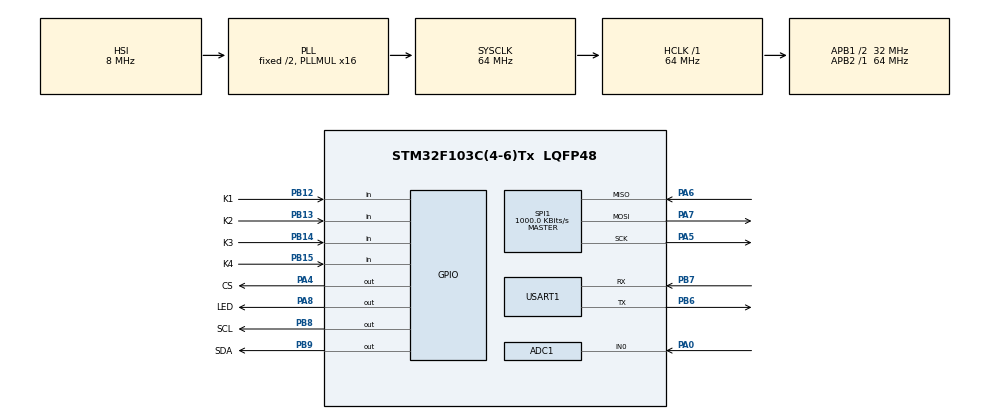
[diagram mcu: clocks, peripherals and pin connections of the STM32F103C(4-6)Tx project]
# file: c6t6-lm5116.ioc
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ADC1.Channel-0\#ChannelRegularConversion=ADC_CHANNEL_0
ADC1.ContinuousConvMode=ENABLE
ADC1.NbrOfConversion=1
ADC1.NbrOfConversionFlag=1
ADC1.Rank-0\#ChannelRegularConversion=1
ADC1.SamplingTime-0\#ChannelRegularConversion=ADC_SAMPLETIME_55CYCLES_5
ADC1.master=1
Dma.ADC1.0.Direction=DMA_PERIPH_TO_MEMORY
Dma.ADC1.0.Instance=DMA1_Channel1
Dma.ADC1.0.MemDataAlignment=DMA_MDATAALIGN_HALFWORD
Dma.ADC1.0.MemInc=DMA_MINC_ENABLE
Dma.ADC1.0.Mode=DMA_CIRCULAR
Dma.ADC1.0.PeriphDataAlignment=DMA_PDATAALIGN_HALFWORD
Dma.ADC1.0.PeriphInc=DMA_PINC_DISABLE
Dma.ADC1.0.Priority=DMA_PRIORITY_LOW
Dma.Request0=ADC1
Mcu.Family=STM32F1
Mcu.Name=STM32F103C(4-6)Tx
Mcu.Package=LQFP48
NVIC.ADC1_2_IRQn=true\:0\:0\:false\:false\:true\:true\:true\:true
NVIC.DMA1_Channel1_IRQn=true\:0\:0\:false\:false\:true\:false\:true\:true
NVIC.PriorityGroup=NVIC_PRIORITYGROUP_4
PA0-WKUP.Signal=ADCx_IN0
PA13.Mode=Serial_Wire
PA13.Signal=SYS_JTMS-SWDIO
PA14.Mode=Serial_Wire
PA14.Signal=SYS_JTCK-SWCLK
PA4.GPIO_Label=CS
PA4.Signal=GPIO_Output
PA5.Mode=Full_Duplex_Master
PA5.Signal=SPI1_SCK
PA6.Mode=Full_Duplex_Master
PA6.Signal=SPI1_MISO
PA7.Mode=Full_Duplex_Master
PA7.Signal=SPI1_MOSI
PA8.GPIO_Label=LED
PA8.Signal=GPIO_Output
PB12.GPIO_Label=K1
PB12.Signal=GPIO_Input
PB13.GPIO_Label=K2
PB13.Signal=GPIO_Input
PB14.GPIO_Label=K3
PB14.Signal=GPIO_Input
PB15.GPIO_Label=K4
PB15.Signal=GPIO_Input
PB6.Mode=Asynchronous
PB6.Signal=USART1_TX
PB7.Mode=Asynchronous
PB7.Signal=USART1_RX
PB8.GPIO_Label=SCL
PB8.Signal=GPIO_Output
PB9.GPIO_Label=SDA
PB9.Signal=GPIO_Output
PD0-OSC_IN.Mode=HSE-External-Oscillator
PD0-OSC_IN.Signal=RCC_OSC_IN
PD1-OSC_OUT.Mode=HSE-External-Oscillator
PD1-OSC_OUT.Signal=RCC_OSC_OUT
ProjectManager.HeapSize=0x200
ProjectManager.StackSize=0x400
ProjectManager.TargetToolchain=STM32CubeIDE
RCC.ADCPresc=RCC_ADCPCLK2_DIV6
RCC.AHBFreq_Value=64000000
RCC.APB1CLKDivider=RCC_HCLK_DIV2
RCC.APB1Freq_Value=32000000
RCC.APB1TimFreq_Value=64000000
RCC.APB2Freq_Value=64000000
RCC.APB2TimFreq_Value=64000000
RCC.HCLKFreq_Value=64000000
RCC.HSE_VALUE=12000000
RCC.PLLMUL=RCC_PLL_MUL16
RCC.SYSCLKFreq_VALUE=64000000
RCC.SYSCLKSource=RCC_SYSCLKSOURCE_PLLCLK
RCC.USBFreq_Value=64000000
SH.ADCx_IN0.0=ADC1_IN0,IN0
SPI1.BaudRatePrescaler=SPI_BAUDRATEPRESCALER_64
SPI1.CalculateBaudRate=1000.0 KBits/s
SPI1.Direction=SPI_DIRECTION_2LINES
SPI1.Mode=SPI_MODE_MASTER
SPI1.VirtualType=VM_MASTER
USART1.VirtualMode=VM_ASYNC
board=custom

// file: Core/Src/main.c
/* USER CODE BEGIN Header */
/**
  ******************************************************************************
  * @file           : main.c
  * @brief          : Main program body
  ******************************************************************************
  * @attention
  *
  * Copyright (c) 2022 STMicroelectronics.
  * All rights reserved.
  *
  * This software is licensed under terms that can be found in the LICENSE file
  * in the root directory of this software component.
  * If no LICENSE file comes with this software, it is provided AS-IS.
  *
  ******************************************************************************
  */
/* USER CODE END Header */
#include "main.h"
#include "adc.h"
#include "dma.h"
#include "spi.h"
#include "usart.h"
#include "gpio.h"

/* USER CODE BEGIN Includes */
#include "mcp41100.h"
#include "delay.h"
#include"data_type_conversion.h"
#include "oled.h"
#include "printf.h"
#include "key.h"
#include "filter.h"
/* USER CODE END Includes */

/* USER CODE BEGIN PV */
extern uint8_t command;
extern uint8_t data;
extern volatile unsigned short adc_value[40];
extern uint8_t flag;
extern float avgerage_voltage;
extern float last_voltage;
/* USER CODE END PV */

void SystemClock_Config(void);

int main(void) {

    /* MCU Configuration--------------------------------------------------------*/

    /* Reset of all peripherals, Initializes the Flash interface and the Systick. */
    HAL_Init();

    /* Configure the system clock */
    SystemClock_Config();

    /* Initialize all configured peripherals */
    MX_GPIO_Init();
    MX_DMA_Init();
    MX_ADC1_Init();
    MX_SPI1_Init();
    MX_USART1_UART_Init();
    /* USER CODE BEGIN 2 */
    HAL_ADCEx_Calibration_Start(&hadc1);

    OLED_Init();//初始化OLED
    OLED_Fill(0X00);//清屏
    //数字电位器的指令
    data = 0B01111111;
    uint8_t key_flag = 0;
    float expect_voltage = 5;
    char V_string[10] = {'0'};
    HAL_UART_Transmit(&huart1, "start\r\n", 7, HAL_MAX_DELAY);
    /* USER CODE END 2 */
    /* Infinite loop */
    /* USER CODE BEGIN WHILE */
    HAL_ADC_Start_DMA(&hadc1, (uint32_t *) adc_value, 40);

    while (1) {
        /* USER CODE END WHILE */

        /* USER CODE BEGIN 3 */

        MCP41100_Send_Data(MCP41100_ENABLE, data);
        //通过按键控制电压
        key_flag = Enter_Key();
        if (key_flag == VOLTAGE_UP) {
            data--;
        } else if (key_flag == VOLTAGE_DOWN) {
            data++;
        }
        //采样并显示
        if (flag) {
            OLED_ShowMenu(expect_voltage, avgerage_voltage * 0.004833f);
            flag = 0;
        }
        HAL_Delay(10);

    }
    /* USER CODE END 3 */
}

void SystemClock_Config(void) {
    RCC_OscInitTypeDef RCC_OscInitStruct = {0};
    RCC_ClkInitTypeDef RCC_ClkInitStruct = {0};
    RCC_PeriphCLKInitTypeDef PeriphClkInit = {0};

    /** Initializes the RCC Oscillators according to the specified parameters
    * in the RCC_OscInitTypeDef structure.
    */
    RCC_OscInitStruct.OscillatorType = RCC_OSCILLATORTYPE_HSI;
    RCC_OscInitStruct.HSIState = RCC_HSI_ON;
    RCC_OscInitStruct.HSICalibrationValue = RCC_HSICALIBRATION_DEFAULT;
    RCC_OscInitStruct.PLL.PLLState = RCC_PLL_ON;
    RCC_OscInitStruct.PLL.PLLSource = RCC_PLLSOURCE_HSI_DIV2;
    RCC_OscInitStruct.PLL.PLLMUL = RCC_PLL_MUL16;
    if (HAL_RCC_OscConfig(&RCC_OscInitStruct) != HAL_OK) {
        Error_Handler();
    }

    /** Initializes the CPU, AHB and APB buses clocks
    */
    RCC_ClkInitStruct.ClockType = RCC_CLOCKTYPE_HCLK | RCC_CLOCKTYPE_SYSCLK
                                  | RCC_CLOCKTYPE_PCLK1 | RCC_CLOCKTYPE_PCLK2;
    RCC_ClkInitStruct.SYSCLKSource = RCC_SYSCLKSOURCE_PLLCLK;
    RCC_ClkInitStruct.AHBCLKDivider = RCC_SYSCLK_DIV1;
    RCC_ClkInitStruct.APB1CLKDivider = RCC_HCLK_DIV2;
    RCC_ClkInitStruct.APB2CLKDivider = RCC_HCLK_DIV1;

    if (HAL_RCC_ClockConfig(&RCC_ClkInitStruct, FLASH_LATENCY_2) != HAL_OK) {
        Error_Handler();
    }
    PeriphClkInit.PeriphClockSelection = RCC_PERIPHCLK_ADC;
    PeriphClkInit.AdcClockSelection = RCC_ADCPCLK2_DIV6;
    if (HAL_RCCEx_PeriphCLKConfig(&PeriphClkInit) != HAL_OK) {
        Error_Handler();
    }
}

void Error_Handler(void) {
    __disable_irq();
    while (1) {
    }
}
